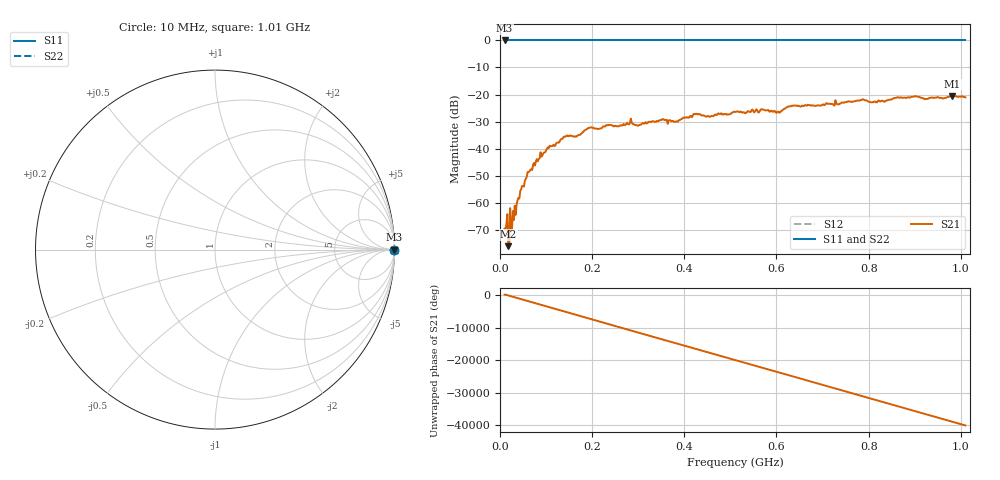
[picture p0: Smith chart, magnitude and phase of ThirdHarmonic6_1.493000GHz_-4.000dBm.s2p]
! 8/16/2025 5:30:01 PM
! C:\ANRITSUVNA\TEMP\TEMP.S2P
! CHANNEL.1
! TR.MEASUREMENT
! RAW.DATA
! RF.CORRECTION.OFF
! AVERAGING.OFF
! IF.BANDWIDTH: 5KHZ
! SWEEPTYPE:  FREQ.SWEEP(Linear)
! Reference Plane Port Info
! PORT:  PORT1  PORT2
! DISTANCE:  0  m  0  m
! TIME:  0  s  0  s
! PHASE.OFFSET:  0  deg.  0  deg.
! LOSS:  0  dB  0  dB
! REF.LOSS:  0  dB  0  dB
! REF.FREQ:  0  Hz  0  Hz
! Power Info
! POWER:  -20  dBm  -20  dBm
! EFF.POWER:  -20  dBm  -20  dBm
! SOURCE.ATTEN:  0  dB  0  dB
! TEST.ATTEN:  0  dB  0  dB
# GHZ S RI R 50.0
! FREQ.GHZ  S11RE  S11IM  S21RE  S21IM  S12RE  S12IM  S22RE  S22IM
!; PortSelection: Port_12
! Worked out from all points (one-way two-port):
!   501 points, 10 MHz to 1.01 GHz, reference 50 ohm
!   highest |S21| = -20.53 dB at 982 MHz (marker M1); lowest = -76.1 dB at 18 MHz (marker M2)
!   lowest |S11| = 0.0 dB at 10 MHz (marker M3)
!   |S11| at or under -10 dB: nowhere
!   |S22| runs from 0.0 to 0.0 dB; largest |S21 - S12| = 1.1
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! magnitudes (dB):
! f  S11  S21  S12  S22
! 10 MHz  0.0  -69.6  0.0  0.0
! 12 MHz  0.0  -70.0  0.0  0.0
! 16 MHz  0.0  -64.3  0.0  0.0
! 18 MHz  0.0  -76.1  0.0  0.0
! 22 MHz  0.0  -62.0  0.0  0.0
! 26 MHz  0.0  -69.7  0.0  0.0
! 44 MHz  0.0  -55.7  0.0  0.0
! 60 MHz  0.0  -48.7  0.0  0.0
! 76 MHz  0.0  -46.3  0.0  0.0
! 106 MHz  0.0  -39.7  0.0  0.0
! 142 MHz  0.0  -35.6  0.0  0.0
! 178 MHz  0.0  -34.2  0.0  0.0
! 196 MHz  0.0  -32.2  0.0  0.0
! 344 MHz  0.0  -29.8  0.0  0.0
! 382 MHz  0.0  -30.0  0.0  0.0
! 510 MHz  0.0  -26.4  0.0  0.0
! 604 MHz  0.0  -26.4  0.0  0.0
! 630 MHz  0.0  -24.4  0.0  0.0
! 678 MHz  0.0  -24.1  0.0  0.0
! 844 MHz  0.0  -22.0  0.0  0.0
! 982 MHz  0.0  -20.5  0.0  0.0
! 1.01 GHz  0.0  -21.0  0.0  0.0
